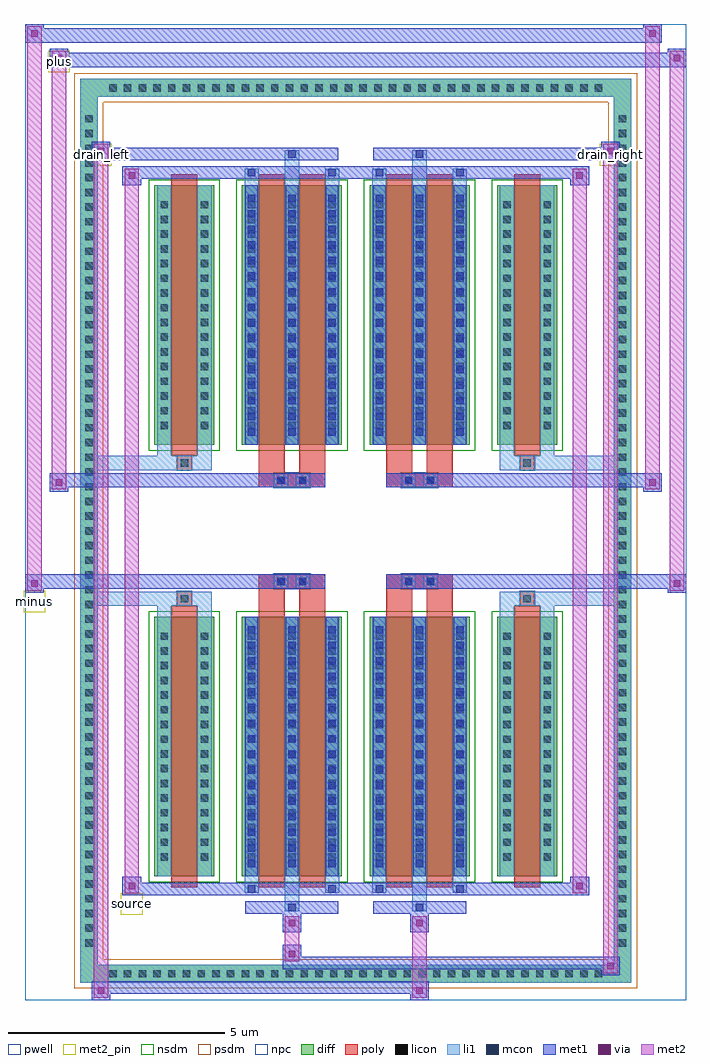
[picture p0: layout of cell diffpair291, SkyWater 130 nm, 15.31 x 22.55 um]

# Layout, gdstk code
import gdstk
lib = gdstk.Library(unit=1e-6, precision=5e-09)
def R(c, l, rs):  # rectangles x0, y0, x1, y1
    for r in rs: c.add(gdstk.rectangle(r[:2], r[2:], *l))
def A(c, l, x, y, w, h, nx, ny, dx, dy):  # array of equal rectangles
    R(c, l, [(x+i*dx, y+j*dy, x+i*dx+w, y+j*dy+h) for i in range(nx) for j in range(ny)])
def P(c, l, *ps):  # polygons
    for p in ps: c.add(gdstk.Polygon(p, *l))
pwell = (64, 44)
diff = (65, 20)
poly = (66, 20)
licon = (66, 44)
li1 = (67, 20)
mcon = (67, 44)
met1 = (68, 20)
via = (68, 44)
met2_pin = (69, 16)
met2 = (69, 20)
nsdm = (93, 44)
psdm = (94, 20)
npc = (95, 20)

diffpair291 = lib.new_cell('diffpair291')
R(diffpair291, pwell, [(-7.64,-10.84,7.64,11.71), (-4.96,-9.03,-0.01,-0.805), (0.01,-9.03,4.96,-0.805), (-4.96,0.805,-0.01,9.03), (0.01,0.805,4.96,9.03)])
A(diffpair291, diff, -5.815, -10.44, 0.41, 0.41, 34, 2, 0.34, 20.47)
A(diffpair291, diff, -6.37, -9.725, 0.41, 0.41, 1, 57, 0, 0.34)
A(diffpair291, diff, 5.96, -9.725, 0.41, 0.41, 1, 57, 0, 0.34)
R(diffpair291, diff, [(-5.815,-10.44,5.815,-10.03), (-6.37,-9.725,-5.96,9.725), (5.96,-9.725,6.37,9.725), (-4.65,-7.985,-3.27,-1.985), (-2.63,-7.985,-0.32,-1.985), (0.32,-7.985,2.63,-1.985), (3.27,-7.985,4.65,-1.985), (-4.65,1.985,-3.27,7.985), (-2.63,1.985,-0.32,7.985), (0.32,1.985,2.63,7.985), (3.27,1.985,4.65,7.985), (-5.815,10.03,5.815,10.44)])
P(diffpair291, diff, [(6.37,10.44),(-6.37,10.44),(-6.37,-10.03),(-5.96,-10.03),(-5.96,10.03),(5.96,10.03),(5.96,-10.03),(-5.96,-10.03),(-6.37,-10.03),(-6.37,-10.44),(6.37,-10.44)])
R(diffpair291, poly, [(-4.26,-8.235,-3.66,-1.735), (-2.24,-8.235,-1.64,-1.735), (-1.31,-8.235,-0.71,-1.735), (0.71,-8.235,1.31,-1.735), (1.64,-8.235,2.24,-1.735), (3.66,-8.235,4.26,-1.735), (-4.125,-1.735,-3.795,-1.405), (-4.125,-1.735,-3.795,-1.405), (-2.24,-1.735,-1.64,-1.335), (-1.31,-1.735,-0.71,-1.335), (0.71,-1.735,1.31,-1.335), (1.64,-1.735,2.24,-1.335), (3.795,-1.735,4.125,-1.405), (3.795,-1.735,4.125,-1.405), (-2.24,-1.335,-0.71,-1.005), (-1.89,-1.335,-1.56,-1.005), (-1.39,-1.335,-1.06,-1.005), (0.71,-1.335,2.24,-1.005), (1.06,-1.335,1.39,-1.005), (1.56,-1.335,1.89,-1.005), (-2.24,1.005,-0.71,1.335), (-1.89,1.005,-1.56,1.335), (-1.39,1.005,-1.06,1.335), (0.71,1.005,2.24,1.335), (1.06,1.005,1.39,1.335), (1.56,1.005,1.89,1.335), (-2.24,1.335,-1.64,1.735), (-1.31,1.335,-0.71,1.735), (0.71,1.335,1.31,1.735), (1.64,1.335,2.24,1.735), (-4.125,1.405,-3.795,1.735), (-4.125,1.405,-3.795,1.735), (3.795,1.405,4.125,1.735), (3.795,1.405,4.125,1.735), (-4.26,1.735,-3.66,8.235), (-2.24,1.735,-1.64,8.235), (-1.31,1.735,-0.71,8.235), (0.71,1.735,1.31,8.235), (1.64,1.735,2.24,8.235), (3.66,1.735,4.26,8.235)])
A(diffpair291, licon, -5.695, -10.32, 0.17, 0.17, 34, 2, 0.34, 20.47)
A(diffpair291, licon, -6.25, -9.605, 0.17, 0.17, 1, 57, 0, 0.34)
A(diffpair291, licon, 6.08, -9.605, 0.17, 0.17, 1, 57, 0, 0.34)
A(diffpair291, licon, -4.51, -7.62, 0.17, 0.17, 1, 16, 0, 0.34)
A(diffpair291, licon, -3.58, -7.62, 0.17, 0.17, 1, 16, 0, 0.34)
A(diffpair291, licon, -2.49, -7.62, 0.17, 0.17, 3, 16, 0.93, 0.34)
A(diffpair291, licon, 0.46, -7.62, 0.17, 0.17, 3, 16, 0.93, 0.34)
A(diffpair291, licon, 3.41, -7.62, 0.17, 0.17, 1, 16, 0, 0.34)
A(diffpair291, licon, 4.34, -7.62, 0.17, 0.17, 1, 16, 0, 0.34)
A(diffpair291, licon, -4.51, 2.35, 0.17, 0.17, 1, 16, 0, 0.34)
A(diffpair291, licon, -3.58, 2.35, 0.17, 0.17, 1, 16, 0, 0.34)
A(diffpair291, licon, -2.49, 2.35, 0.17, 0.17, 3, 16, 0.93, 0.34)
A(diffpair291, licon, 0.46, 2.35, 0.17, 0.17, 3, 16, 0.93, 0.34)
A(diffpair291, licon, 3.41, 2.35, 0.17, 0.17, 1, 16, 0, 0.34)
A(diffpair291, licon, 4.34, 2.35, 0.17, 0.17, 1, 16, 0, 0.34)
R(diffpair291, licon, [(-4.045,-1.655,-3.875,-1.485), (3.875,-1.655,4.045,-1.485), (-1.81,-1.255,-1.64,-1.085), (-1.31,-1.255,-1.14,-1.085), (1.14,-1.255,1.31,-1.085), (1.64,-1.255,1.81,-1.085), (-1.81,1.085,-1.64,1.255), (-1.31,1.085,-1.14,1.255), (1.14,1.085,1.31,1.255), (1.64,1.085,1.81,1.255), (-4.045,1.485,-3.875,1.655), (3.875,1.485,4.045,1.655)])
A(diffpair291, li1, -5.775, -10.4, 0.33, 0.33, 34, 2, 0.34, 20.47)
A(diffpair291, li1, -6.33, -9.685, 0.33, 0.33, 1, 57, 0, 0.34)
A(diffpair291, li1, 6, -9.685, 0.33, 0.33, 1, 57, 0, 0.34)
A(diffpair291, li1, -2.57, -7.985, 0.33, 6, 3, 2, 0.93, 9.97)
A(diffpair291, li1, 0.38, -7.985, 0.33, 6, 3, 2, 0.93, 9.97)
A(diffpair291, li1, -2.49, -7.77, 0.17, 0.17, 3, 16, 0.93, 0.36)
A(diffpair291, li1, -2.49, -7.77, 0.17, 5.57, 3, 2, 0.93, 9.97)
A(diffpair291, li1, 0.46, -7.77, 0.17, 0.17, 3, 16, 0.93, 0.36)
A(diffpair291, li1, 0.46, -7.77, 0.17, 5.57, 3, 2, 0.93, 9.97)
A(diffpair291, li1, -4.59, -7.7, 0.33, 0.33, 1, 16, 0, 0.34)
A(diffpair291, li1, -3.66, -7.7, 0.33, 0.33, 1, 16, 0, 0.34)
A(diffpair291, li1, -2.57, -7.7, 0.33, 0.33, 3, 16, 0.93, 0.34)
A(diffpair291, li1, 0.38, -7.7, 0.33, 0.33, 3, 16, 0.93, 0.34)
A(diffpair291, li1, 3.33, -7.7, 0.33, 0.33, 1, 16, 0, 0.34)
A(diffpair291, li1, 4.26, -7.7, 0.33, 0.33, 1, 16, 0, 0.34)
A(diffpair291, li1, -2.49, 2.2, 0.17, 0.17, 3, 16, 0.93, 0.36)
A(diffpair291, li1, 0.46, 2.2, 0.17, 0.17, 3, 16, 0.93, 0.36)
A(diffpair291, li1, -4.59, 2.27, 0.33, 0.33, 1, 16, 0, 0.34)
A(diffpair291, li1, -3.66, 2.27, 0.33, 0.33, 1, 16, 0, 0.34)
A(diffpair291, li1, -2.57, 2.27, 0.33, 0.33, 3, 16, 0.93, 0.34)
A(diffpair291, li1, 0.38, 2.27, 0.33, 0.33, 3, 16, 0.93, 0.34)
A(diffpair291, li1, 3.33, 2.27, 0.33, 0.33, 1, 16, 0, 0.34)
A(diffpair291, li1, 4.26, 2.27, 0.33, 0.33, 1, 16, 0, 0.34)
R(diffpair291, li1, [(-6.37,-10.44,-5.96,-10.03), (-6.37,-10.44,-5.96,-10.03), (-5.96,-10.44,5.96,-10.03), (5.96,-10.44,6.37,-10.03), (5.96,-10.44,6.37,-10.03), (-6.37,-10.03,-5.96,10.03), (5.96,-10.03,6.37,10.03), (-1.64,-8.79,-1.31,-7.985), (-1.56,-8.79,-1.39,-8.62), (1.31,-8.79,1.64,-7.985), (1.39,-8.79,1.56,-8.62), (-2.57,-8.36,-2.24,-7.985), (-2.49,-8.36,-2.32,-8.19), (-0.71,-8.36,-0.38,-7.985), (-0.63,-8.36,-0.46,-8.19), (0.38,-8.36,0.71,-7.985), (0.46,-8.36,0.63,-8.19), (2.24,-8.36,2.57,-7.985), (2.32,-8.36,2.49,-8.19), (-4.59,-7.985,-4.26,-1.985), (-3.66,-7.985,-3.33,-1.985), (3.33,-7.985,3.66,-1.985), (4.26,-7.985,4.59,-1.985), (-4.59,-1.985,-4.26,-1.405), (-3.66,-1.985,-3.33,-1.405), (3.33,-1.985,3.66,-1.405), (4.26,-1.985,4.59,-1.405), (-6.37,-1.735,-4.125,-1.405), (-4.59,-1.735,-4.125,-1.405), (-4.125,-1.735,-3.795,-1.405), (-3.795,-1.735,-3.33,-1.405), (3.33,-1.735,3.795,-1.405), (3.795,-1.735,4.125,-1.405), (3.795,-1.735,6.37,-1.405), (4.125,-1.735,4.59,-1.405), (-1.89,-1.335,-1.56,-1.005), (-1.39,-1.335,-1.06,-1.005), (1.06,-1.335,1.39,-1.005), (1.56,-1.335,1.89,-1.005), (-1.89,1.005,-1.56,1.335), (-1.39,1.005,-1.06,1.335), (1.06,1.005,1.39,1.335), (1.56,1.005,1.89,1.335), (-6.37,1.405,-4.125,1.735), (-4.59,1.405,-4.125,1.735), (-4.59,1.405,-4.26,1.985), (-4.125,1.405,-3.795,1.735), (-3.795,1.405,-3.33,1.735), (-3.66,1.405,-3.33,1.985), (3.33,1.405,3.795,1.735), (3.33,1.405,3.66,1.985), (3.795,1.405,4.125,1.735), (3.795,1.405,6.37,1.735), (4.125,1.405,4.59,1.735), (4.26,1.405,4.59,1.985), (-4.59,1.985,-4.26,7.985), (-3.66,1.985,-3.33,7.985), (3.33,1.985,3.66,7.985), (4.26,1.985,4.59,7.985), (-2.57,7.985,-2.24,8.36), (-1.64,7.985,-1.31,8.79), (-0.71,7.985,-0.38,8.36), (0.38,7.985,0.71,8.36), (1.31,7.985,1.64,8.79), (2.24,7.985,2.57,8.36), (-2.49,8.19,-2.32,8.36), (-0.63,8.19,-0.46,8.36), (0.46,8.19,0.63,8.36), (2.32,8.19,2.49,8.36), (-1.56,8.62,-1.39,8.79), (1.39,8.62,1.56,8.79), (-6.37,10.03,-5.96,10.44), (-6.37,10.03,-5.96,10.44), (-5.96,10.03,5.96,10.44), (5.96,10.03,6.37,10.44), (5.96,10.03,6.37,10.44)])
A(diffpair291, mcon, -2.49, -7.77, 0.17, 0.17, 3, 16, 0.93, 0.36)
A(diffpair291, mcon, 0.46, -7.77, 0.17, 0.17, 3, 16, 0.93, 0.36)
A(diffpair291, mcon, -2.49, 2.2, 0.17, 0.17, 3, 16, 0.93, 0.36)
A(diffpair291, mcon, 0.46, 2.2, 0.17, 0.17, 3, 16, 0.93, 0.36)
R(diffpair291, mcon, [(-1.56,-8.79,-1.39,-8.62), (1.39,-8.79,1.56,-8.62), (-2.49,-8.36,-2.32,-8.19), (-0.63,-8.36,-0.46,-8.19), (0.46,-8.36,0.63,-8.19), (2.32,-8.36,2.49,-8.19), (-1.81,-1.255,-1.64,-1.085), (-1.31,-1.255,-1.14,-1.085), (1.14,-1.255,1.31,-1.085), (1.64,-1.255,1.81,-1.085), (-1.81,1.085,-1.64,1.255), (-1.31,1.085,-1.14,1.255), (1.14,1.085,1.31,1.255), (1.64,1.085,1.81,1.255), (-2.49,8.19,-2.32,8.36), (-0.63,8.19,-0.46,8.36), (0.46,8.19,0.63,8.36), (2.32,8.19,2.49,8.36), (-1.56,8.62,-1.39,8.79), (1.39,8.62,1.56,8.79)])
A(diffpair291, met1, -2.55, -7.985, 0.29, 6, 3, 2, 0.93, 9.97)
A(diffpair291, met1, 0.4, -7.985, 0.29, 6, 3, 2, 0.93, 9.97)
A(diffpair291, met1, -2.55, -7.83, 0.29, 0.29, 3, 16, 0.93, 0.36)
A(diffpair291, met1, 0.4, -7.83, 0.29, 0.29, 3, 16, 0.93, 0.36)
A(diffpair291, met1, -2.55, 2.14, 0.29, 0.29, 3, 16, 0.93, 0.36)
A(diffpair291, met1, 0.4, 2.14, 0.29, 0.29, 3, 16, 0.93, 0.36)
R(diffpair291, met1, [(-6.1,-10.84,-5.67,-10.41), (1.26,-10.84,1.69,-10.41), (-6.1,-10.7,1.69,-10.41), (5.67,-10.27,6.1,-9.84), (-1.69,-10.13,6.1,-9.84), (-1.69,-9.99,-1.26,-9.56), (-1.69,-9.28,-1.26,-8.85), (1.26,-9.28,1.69,-8.85), (-2.55,-8.85,-0.4,-8.56), (-1.62,-8.85,-1.33,-8.56), (0.4,-8.85,2.55,-8.56), (1.33,-8.85,1.62,-8.56), (-5.39,-8.42,-4.96,-7.99), (-5.39,-8.42,-2.55,-8.13), (-2.55,-8.42,-2.26,-8.13), (-2.55,-8.42,-0.4,-8.13), (-0.69,-8.42,-0.4,-8.13), (-0.4,-8.42,0.4,-8.13), (0.4,-8.42,0.69,-8.13), (0.4,-8.42,2.55,-8.13), (2.26,-8.42,2.55,-8.13), (2.55,-8.42,5.39,-8.13), (4.96,-8.42,5.39,-7.99), (-7.64,-1.435,-7.21,-1.005), (7.21,-1.435,7.64,-1.005), (-7.64,-1.335,-0.71,-1.005), (-2.24,-1.335,-0.71,-1.005), (0.71,-1.335,2.24,-1.005), (0.71,-1.335,7.64,-1.005), (-1.87,-1.315,-1.58,-1.025), (-1.37,-1.315,-1.08,-1.025), (1.08,-1.315,1.37,-1.025), (1.58,-1.315,1.87,-1.025), (-7.07,0.905,-6.64,1.335), (6.64,0.905,7.07,1.335), (-7.07,1.005,-2.24,1.335), (-2.24,1.005,-0.71,1.335), (0.71,1.005,2.24,1.335), (2.24,1.005,7.07,1.335), (-1.87,1.025,-1.58,1.315), (-1.37,1.025,-1.08,1.315), (1.08,1.025,1.37,1.315), (1.58,1.025,1.87,1.315), (-5.39,7.99,-4.96,8.42), (4.96,7.99,5.39,8.42), (-5.39,8.13,-2.55,8.42), (-2.55,8.13,-2.26,8.42), (-2.55,8.13,-0.4,8.42), (-0.69,8.13,-0.4,8.42), (-0.4,8.13,0.4,8.42), (0.4,8.13,0.69,8.42), (0.4,8.13,2.55,8.42), (2.26,8.13,2.55,8.42), (2.55,8.13,5.39,8.42), (-6.1,8.56,-5.67,8.99), (-6.1,8.56,-2.55,8.85), (-2.55,8.56,-0.4,8.85), (-1.62,8.56,-1.33,8.85), (0.4,8.56,2.55,8.85), (1.33,8.56,1.62,8.85), (2.55,8.56,6.1,8.85), (5.67,8.56,6.1,8.99), (-7.07,10.71,-6.64,11.14), (-7.07,10.71,-4.96,11.04), (-4.96,10.71,4.96,11.04), (4.96,10.71,7.64,11.04), (7.21,10.71,7.64,11.14), (-7.64,11.28,-7.21,11.71), (-7.64,11.28,-4.96,11.61), (-4.96,11.28,4.96,11.61), (4.96,11.28,7.07,11.61), (6.64,11.28,7.07,11.71)])
R(diffpair291, via, [(-5.96,-10.7,-5.81,-10.55), (1.4,-10.7,1.55,-10.55), (5.81,-10.13,5.96,-9.98), (-1.55,-9.85,-1.4,-9.7), (-1.55,-9.14,-1.4,-8.99), (1.4,-9.14,1.55,-8.99), (-5.25,-8.28,-5.1,-8.13), (5.1,-8.28,5.25,-8.13), (-7.5,-1.295,-7.35,-1.145), (7.35,-1.295,7.5,-1.145), (-6.93,1.045,-6.78,1.195), (6.78,1.045,6.93,1.195), (-5.25,8.13,-5.1,8.28), (5.1,8.13,5.25,8.28), (-5.96,8.7,-5.81,8.85), (5.81,8.7,5.96,8.85), (-6.93,10.85,-6.78,11), (7.35,10.85,7.5,11), (-7.5,11.42,-7.35,11.57), (6.78,11.42,6.93,11.57)])
R(diffpair291, met2_pin, [(-5.425,-8.87,-4.925,-8.37), (-7.675,-1.885,-7.175,-1.385), (-6.135,8.44,-5.635,8.94), (5.635,8.44,6.135,8.94), (-7.105,10.59,-6.605,11.09)])
R(diffpair291, met2, [(-6.05,-10.79,-5.72,-10.46), (-6.05,-10.79,-5.72,8.94), (1.31,-10.79,1.64,-10.46), (1.31,-10.46,1.64,-9.23), (5.72,-10.22,6.05,-9.89), (5.72,-10.22,6.05,8.94), (-1.64,-9.94,-1.31,-9.61), (-1.64,-9.61,-1.31,-9.23), (-1.64,-9.23,-1.31,-8.9), (1.31,-9.23,1.64,-8.9), (-5.34,-8.37,-5.01,-8.04), (-5.34,-8.37,-5.01,8.37), (5.01,-8.37,5.34,-8.04), (5.01,-8.37,5.34,8.37), (-7.59,-1.385,-7.26,-1.055), (-7.59,-1.385,-7.26,11.66), (7.26,-1.385,7.59,-1.055), (7.26,-1.385,7.59,11.09), (-7.02,0.955,-6.69,1.285), (-7.02,0.955,-6.69,11.09), (6.69,0.955,7.02,1.285), (6.69,0.955,7.02,11.66), (-5.34,8.04,-5.01,8.37), (5.01,8.04,5.34,8.37), (-6.05,8.61,-5.72,8.94), (5.72,8.61,6.05,8.94), (-7.02,10.76,-6.69,11.09), (7.26,10.76,7.59,11.09), (-7.59,11.33,-7.26,11.66), (6.69,11.33,7.02,11.66)])
P(diffpair291, met2, [(7.59,-1.385),(7.59,-1.385),(7.59,-1.055),(7.59,-1.055)],
  [(7.59,10.76),(7.59,10.76),(7.59,11.09),(7.59,11.09)],
  [(-7.26,-1.385),(-7.26,-1.385),(-7.26,-1.055),(-7.26,-1.055)],
  [(-7.26,11.33),(-7.26,11.33),(-7.26,11.66),(-7.26,11.66)],
  [(7.02,0.955),(7.02,0.955),(7.02,1.285),(7.02,1.285)],
  [(7.02,11.33),(7.02,11.33),(7.02,11.66),(7.02,11.66)],
  [(-6.69,0.955),(-6.69,0.955),(-6.69,1.285),(-6.69,1.285)],
  [(-6.69,10.76),(-6.69,10.76),(-6.69,11.09),(-6.69,11.09)],
  [(-5.72,-10.79),(-5.72,-10.79),(-5.72,-10.46),(-5.72,-10.46)],
  [(-5.72,8.61),(-5.72,8.61),(-5.72,8.94),(-5.72,8.94)],
  [(6.05,-10.22),(6.05,-10.22),(6.05,-9.89),(6.05,-9.89)],
  [(6.05,8.61),(6.05,8.61),(6.05,8.94),(6.05,8.94)],
  [(-5.01,-8.37),(-5.01,-8.37),(-5.01,-8.04),(-5.01,-8.04)],
  [(-5.01,8.04),(-5.01,8.04),(-5.01,8.37),(-5.01,8.37)],
  [(5.34,-8.37),(5.34,-8.37),(5.34,-8.04),(5.34,-8.04)],
  [(5.34,8.04),(5.34,8.04),(5.34,8.37),(5.34,8.37)])
R(diffpair291, nsdm, [(-4.78,-8.115,-3.14,-1.855), (-2.76,-8.115,-0.19,-1.855), (0.19,-8.115,2.76,-1.855), (3.14,-8.115,4.78,-1.855), (-4.78,1.855,-3.14,8.115), (-2.76,1.855,-0.19,8.115), (0.19,1.855,2.76,8.115), (3.14,1.855,4.78,8.115)])
P(diffpair291, psdm, [(6.5,10.57),(-6.5,10.57),(-6.5,-9.9),(-5.83,-9.9),(-5.83,9.9),(5.83,9.9),(5.83,-9.9),(-5.83,-9.9),(-6.5,-9.9),(-6.5,-10.57),(6.5,-10.57)])
R(diffpair291, npc, [(-4.145,-1.755,-3.775,-1.385), (3.775,-1.755,4.145,-1.385), (-1.91,-1.355,-1.54,-0.985), (-1.91,-1.355,-1.04,-0.985), (-1.91,-1.355,-1.04,-0.985), (-1.41,-1.355,-1.04,-0.985), (1.04,-1.355,1.41,-0.985), (1.04,-1.355,1.91,-0.985), (1.04,-1.355,1.91,-0.985), (1.54,-1.355,1.91,-0.985), (-1.91,0.985,-1.54,1.355), (-1.91,0.985,-1.04,1.355), (-1.91,0.985,-1.04,1.355), (-1.41,0.985,-1.04,1.355), (1.04,0.985,1.41,1.355), (1.04,0.985,1.91,1.355), (1.04,0.985,1.91,1.355), (1.54,0.985,1.91,1.355), (-4.145,1.385,-3.775,1.755), (3.775,1.385,4.145,1.755)])
diffpair291.add(gdstk.Label('minus', (-7.425,-1.635), layer=69, texttype=5))
diffpair291.add(gdstk.Label('drain_right', (5.885,8.69), layer=69, texttype=5))
diffpair291.add(gdstk.Label('drain_left', (-5.885,8.69), layer=69, texttype=5))
diffpair291.add(gdstk.Label('source', (-5.175,-8.62), layer=69, texttype=5))
diffpair291.add(gdstk.Label('plus', (-6.855,10.84), layer=69, texttype=5))

lib.write_gds('diffpair291.gds')
